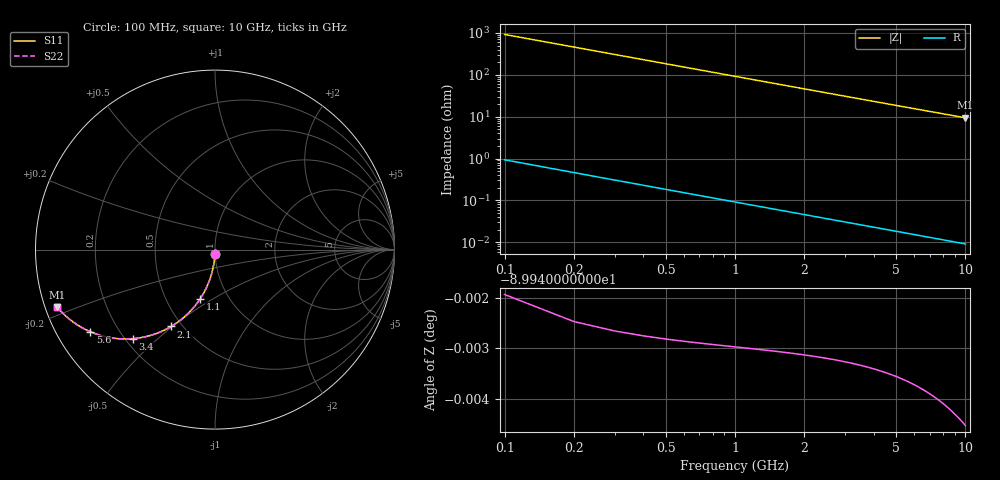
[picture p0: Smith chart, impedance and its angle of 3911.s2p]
# Hz S RI R 50.00
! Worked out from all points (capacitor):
!   100 points, 100 MHz to 10 GHz, reference 50 ohm
!   read as one part in shunt: C = 1.73 pF near 100 MHz
!   lowest |Z| = 9.43 ohm at 10 GHz (marker M1)
!   S11 on the Smith chart (normalised r, x): 100 MHz: 1.00, -0.05; 1.1 GHz: 0.74, -0.44; 2.1 GHz: 0.44, -0.49; 3.4 GHz: 0.23, -0.42; 5.6 GHz: 0.10, -0.30; 10 GHz: 0.03, -0.18
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1e8  -0.000754 -0.0271  0.9992 -0.0272  0.9992 -0.0272  -0.000754 -0.0271
2e8  -0.00298 -0.0541  0.997 -0.0542  0.997 -0.0542  -0.00298 -0.0541
3e8  -0.00666 -0.0808  0.9933 -0.081  0.9933 -0.081  -0.00666 -0.0808
4e8  -0.0118 -0.1071  0.9882 -0.1075  0.9882 -0.1075  -0.0118 -0.1071
5e8  -0.0182 -0.133  0.9818 -0.1335  0.9818 -0.1335  -0.0182 -0.133
6e8  -0.026 -0.1583  0.974 -0.1589  0.974 -0.1589  -0.026 -0.1583
7e8  -0.035 -0.183  0.965 -0.1836  0.965 -0.1836  -0.035 -0.183
9e8  -0.0565 -0.23  0.9435 -0.2308  0.9435 -0.2308  -0.0565 -0.23
1.1e9  -0.082 -0.2734  0.918 -0.2743  0.918 -0.2743  -0.082 -0.2734
1.4e9  -0.1262 -0.3309  0.8738 -0.3322  0.8738 -0.3322  -0.1262 -0.3309
1.8e9  -0.1924 -0.3929  0.8076 -0.3945  0.8076 -0.3945  -0.1924 -0.3929
2.1e9  -0.2446 -0.4284  0.7554 -0.4303  0.7554 -0.4303  -0.2446 -0.4284
2.4e9  -0.2969 -0.4553  0.7031 -0.4575  0.7031 -0.4575  -0.2969 -0.4553
2.7e9  -0.348 -0.4746  0.652 -0.477  0.652 -0.477  -0.348 -0.4746
3.4e9  -0.4576 -0.4962  0.5423 -0.4992  0.5423 -0.4992  -0.4576 -0.4962
4.2e9  -0.5621 -0.4937  0.4379 -0.4975  0.4379 -0.4975  -0.5621 -0.4937
5.1e9  -0.6536 -0.473  0.3464 -0.4776  0.3464 -0.4776  -0.6536 -0.473
5.6e9  -0.6943 -0.4576  0.3056 -0.4627  0.3056 -0.4627  -0.6943 -0.4576
6.7e9  -0.7643 -0.4208  0.2357 -0.427  0.2357 -0.427  -0.7643 -0.4208
7.5e9  -0.8022 -0.3943  0.1977 -0.4012  0.1977 -0.4012  -0.8022 -0.3943
8.4e9  -0.8355 -0.3663  0.1644 -0.374  0.1644 -0.374  -0.8355 -0.3663
1e10  -0.8779 -0.3222  0.1221 -0.3315  0.1221 -0.3315  -0.8779 -0.3222
